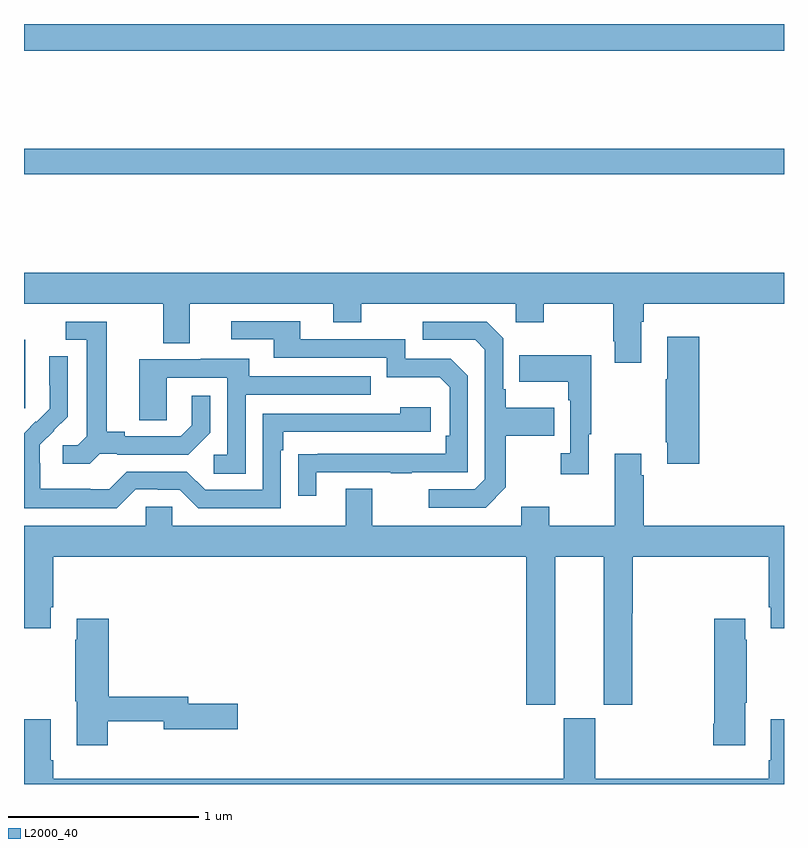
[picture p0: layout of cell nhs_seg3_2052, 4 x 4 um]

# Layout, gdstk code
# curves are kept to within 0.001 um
import gdstk
lib = gdstk.Library(unit=1e-6, precision=1e-09)
def R(c, l, rs):  # rectangles x0, y0, x1, y1
    for r in rs: c.add(gdstk.rectangle(r[:2], r[2:], *l))
def P(c, l, *ps):  # polygons
    for p in ps: c.add(gdstk.Polygon(p, *l))
L2000_40 = (2000, 40)

nhs_seg3_2052 = lib.new_cell('nhs_seg3_2052')
R(nhs_seg3_2052, L2000_40, [(217,688.377,217.006,688.738), (217,689.608,221,689.744), (217,690.26,221,690.4)])
P(nhs_seg3_2052, L2000_40, [(220.249,688.832),(220.262,688.832),(220.262,688.928),(221,688.928),(221,689.092),(217,689.092),(217,688.928),(217.733,688.928),(217.733,688.72),(217.873,688.72),(217.873,688.928),(218.627,688.928),(218.627,688.829),(218.775,688.829),(218.775,688.928),(219.588,688.928),(219.588,688.829),(219.735,688.829),(219.735,688.928),(220.102,688.928),(220.102,688.729),(220.109,688.729),(220.109,688.617),(220.249,688.617)],
  [(218.539,688.041),(218.929,688.041),(218.929,688.036),(219.041,688.036),(219.041,688.041),(219.336,688.041),(219.336,688.548),(219.246,688.638),(219.006,688.638),(219.006,688.74),(218.455,688.74),(218.455,688.836),(218.091,688.836),(218.091,688.74),(218.315,688.74),(218.315,688.644),(218.91,688.644),(218.91,688.541),(219.187,688.541),(219.24,688.488),(219.24,688.234),(219.22,688.234),(219.22,688.137),(218.443,688.136),(218.443,687.918),(218.539,687.918)],
  [(217.398,688.137),(217.492,688.137),(217.492,688.134),(217.864,688.134),(217.98,688.25),(217.98,688.444),(217.883,688.444),(217.883,688.287),(217.826,688.23),(217.531,688.23),(217.531,688.253),(217.435,688.253),(217.435,688.833),(217.221,688.833),(217.221,688.737),(217.331,688.737),(217.331,688.229),(217.284,688.182),(217.203,688.182),(217.203,688.085),(217.346,688.085)],
  [(219.535,687.961),(219.535,688.234),(219.791,688.234),(219.791,688.381),(219.535,688.381),(219.535,688.477),(219.522,688.477),(219.522,688.746),(219.435,688.833),(219.099,688.833),(219.099,688.737),(219.375,688.737),(219.426,688.686),(219.426,688.005),(219.372,687.951),(219.129,687.951),(219.129,687.855),(219.429,687.855)],
  [(220.553,688.753),(220.385,688.753),(220.385,688.529),(220.378,688.529),(220.378,688.198),(220.385,688.198),(220.385,688.086),(220.553,688.086)],
  [(219.973,688.241),(219.985,688.241),(219.985,688.657),(219.607,688.657),(219.607,688.517),(219.864,688.517),(219.864,688.421),(219.876,688.421),(219.876,688.142),(219.825,688.142),(219.825,688.029),(219.973,688.029)],
  [(217.587,687.951),(217.703,687.951),(217.703,687.948),(217.821,687.948),(217.917,687.852),(218.352,687.852),(218.352,688.157),(218.365,688.157),(218.365,688.254),(219.142,688.254),(219.142,688.384),(218.981,688.384),(218.981,688.35),(218.256,688.35),(218.256,687.948),(217.953,687.948),(217.857,688.044),(217.542,688.044),(217.449,687.951),(217.349,687.951),(217.349,687.955),(217.086,687.955),(217.086,688.089),(217.084,688.089),(217.084,688.186),(217.23,688.334),(217.23,688.652),(217.134,688.652),(217.134,688.498),(217.136,688.498),(217.136,688.376),(217.065,688.305),(217.062,688.308),(217,688.246),(217,687.851),(217.487,687.851)],
  [(218.166,688.449),(218.825,688.449),(218.825,688.545),(218.185,688.545),(218.185,688.639),(217.931,688.639),(217.931,688.635),(217.607,688.635),(217.607,688.315),(217.752,688.315),(217.752,688.539),(218.07,688.539),(218.07,688.134),(217.998,688.134),(217.998,688.033),(218.166,688.033)],
  [(219.796,687.596),(220.052,687.596),(220.052,686.817),(220.2,686.817),(220.2,687.3),(220.205,687.3),(220.205,687.596),(220.919,687.596),(220.919,687.331),(220.931,687.331),(220.931,687.219),(221,687.219),(221,687.76),(220.262,687.76),(220.262,688.025),(220.249,688.025),(220.249,688.138),(220.109,688.138),(220.109,687.76),(219.765,687.76),(219.765,687.859),(219.617,687.859),(219.617,687.76),(218.833,687.76),(218.833,687.955),(218.693,687.955),(218.693,687.76),(217.779,687.76),(217.779,687.858),(217.641,687.858),(217.641,687.76),(217,687.76),(217,687.596),(217.001,687.596),(217.001,687.219),(217.141,687.219),(217.141,687.331),(217.154,687.331),(217.154,687.596),(219.644,687.596),(219.644,686.817),(219.796,686.817)],
  [(220.795,686.827),(220.803,686.827),(220.803,687.158),(220.795,687.158),(220.795,687.271),(220.633,687.271),(220.633,686.716),(220.628,686.716),(220.628,686.604),(220.795,686.604)],
  [(217.44,686.73),(217.736,686.73),(217.736,686.687),(218.125,686.687),(218.125,686.822),(217.864,686.822),(217.864,686.858),(217.445,686.858),(217.445,687.271),(217.277,687.271),(217.277,687.158),(217.27,687.158),(217.27,686.835),(217.277,686.835),(217.277,686.604),(217.44,686.604)],
  [(221,686.74),(220.931,686.74),(220.931,686.524),(220.919,686.524),(220.919,686.428),(220.006,686.428),(220.006,686.745),(219.842,686.745),(219.842,686.428),(217.154,686.428),(217.154,686.524),(217.141,686.524),(217.141,686.74),(217.001,686.74),(217.001,686.627),(217,686.627),(217,686.4),(221,686.4)])

lib.write_gds('nhs_seg3_2052.gds')
